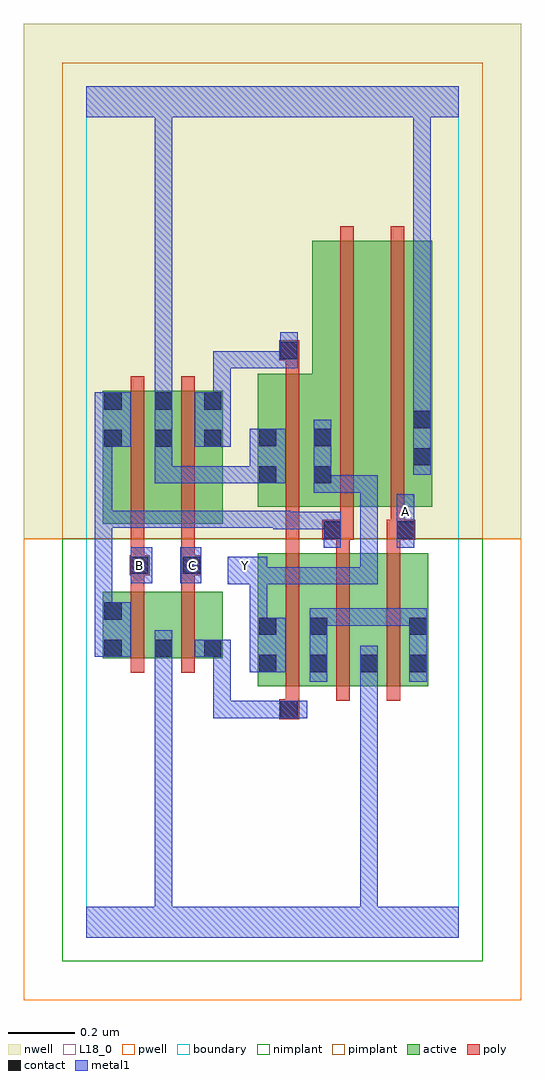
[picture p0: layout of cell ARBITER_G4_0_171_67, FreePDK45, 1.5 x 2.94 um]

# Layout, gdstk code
import gdstk
lib = gdstk.Library(unit=1e-6, precision=1e-09)
def R(c, l, rs):  # rectangles x0, y0, x1, y1
    for r in rs: c.add(gdstk.rectangle(r[:2], r[2:], *l))
def A(c, l, x, y, w, h, nx, ny, dx, dy):  # array of equal rectangles
    R(c, l, [(x+i*dx, y+j*dy, x+i*dx+w, y+j*dy+h) for i in range(nx) for j in range(ny)])
active = (1, 0)
pwell = (2, 0)
nwell = (3, 0)
nimplant = (4, 0)
pimplant = (5, 0)
poly = (9, 0)
contact = (10, 0)
metal1 = (11, 0)
L18_0 = (18, 0)
boundary = (235, 0)

arbiter_g4_0_171_67 = lib.new_cell('ARBITER_G4_0_171_67')
R(arbiter_g4_0_171_67, active, [(0.516,0.756,0.576,1.156), (0.516,0.756,0.728,1.156), (0.668,0.756,0.88,1.156), (0.668,0.756,0.728,0.966), (0.82,0.756,1.028,1.156), (0.82,0.756,0.88,0.926), (0.968,0.756,1.028,1.156), (0.05,0.84,0.11,1.04), (0.05,0.84,0.262,1.04), (0.202,0.84,0.41,1.04), (0.202,0.84,0.262,0.984), (0.35,0.84,0.41,1.04), (0.05,1.244,0.11,1.644), (0.05,1.244,0.262,1.644), (0.202,1.244,0.262,1.644), (0.202,1.244,0.41,1.644), (0.35,1.244,0.41,1.644), (0.516,1.296,0.74,1.696), (0.516,1.296,0.576,1.644), (0.68,1.296,0.86,2.096), (0.86,1.296,1.04,2.096), (0.98,1.296,1.04,2.044), (0.68,1.362,0.74,1.868)])
R(arbiter_g4_0_171_67, pwell, [(-0.188,-0.188,1.308,1.2)])
R(arbiter_g4_0_171_67, nwell, [(-0.188,1.2,1.308,2.748)])
R(arbiter_g4_0_171_67, nimplant, [(-0.072,-0.072,1.192,1.2)])
R(arbiter_g4_0_171_67, pimplant, [(-0.072,1.2,1.192,2.632)])
A(arbiter_g4_0_171_67, poly, 0.6, 0.712, 0.04, 0.488, 3, 1, 0.152, 0)
A(arbiter_g4_0_171_67, poly, 0.6, 1.16, 0.04, 0.076, 3, 1, 0.152, 0)
R(arbiter_g4_0_171_67, poly, [(0.58,0.656,0.64,0.716), (0.6,0.676,0.64,0.752), (0.134,0.796,0.174,1.084), (0.286,0.796,0.326,1.084), (0.134,1.044,0.174,1.13), (0.286,1.044,0.326,1.13), (0.13,1.09,0.19,1.15), (0.286,1.09,0.346,1.15), (0.134,1.11,0.174,1.15), (0.134,1.11,0.174,1.15), (0.134,1.11,0.174,1.24), (0.286,1.11,0.326,1.15), (0.286,1.11,0.326,1.15), (0.286,1.11,0.326,1.24), (0.6,1.196,0.64,1.236), (0.6,1.196,0.64,1.236), (0.6,1.196,0.64,1.236), (0.6,1.196,0.64,1.292), (0.71,1.196,0.804,1.256), (0.752,1.196,0.792,1.236), (0.752,1.196,0.792,1.236), (0.904,1.196,0.99,1.256), (0.134,1.2,0.174,1.688), (0.286,1.2,0.326,1.688), (0.764,1.216,0.804,1.292), (0.916,1.216,0.956,1.292), (0.916,1.216,0.956,1.256), (0.916,1.216,0.956,1.256), (0.6,1.252,0.64,1.74), (0.764,1.252,0.804,2.14), (0.916,1.252,0.956,2.14), (0.6,1.7,0.64,1.776), (0.58,1.736,0.64,1.796)])
A(arbiter_g4_0_171_67, contact, 0.52, 0.798, 0.052, 0.052, 3, 1, 0.152, 0)
R(arbiter_g4_0_171_67, contact, [(0.584,0.66,0.636,0.712), (0.972,0.798,1.024,0.85), (0.054,0.844,0.106,0.896), (0.206,0.844,0.258,0.896), (0.354,0.844,0.406,0.896), (0.52,0.91,0.572,0.962), (0.672,0.91,0.724,0.962), (0.972,0.91,1.024,0.962), (0.054,0.956,0.106,1.008), (0.134,1.094,0.186,1.146), (0.29,1.094,0.342,1.146), (0.714,1.2,0.766,1.252), (0.934,1.2,0.986,1.252), (0.52,1.366,0.572,1.418), (0.684,1.366,0.736,1.418), (0.984,1.42,1.036,1.472), (0.054,1.476,0.106,1.528), (0.206,1.476,0.258,1.528), (0.354,1.476,0.406,1.528), (0.52,1.478,0.572,1.53), (0.684,1.478,0.736,1.53), (0.984,1.532,1.036,1.584), (0.054,1.588,0.106,1.64), (0.206,1.588,0.258,1.64), (0.354,1.588,0.406,1.64), (0.584,1.74,0.636,1.792)])
R(arbiter_g4_0_171_67, metal1, [(0,0,1.12,0.092), (0.206,0.04,0.258,0.092), (0.206,0.04,0.258,0.092), (0.206,0.04,0.258,0.092), (0.206,0.04,0.258,0.092), (0.206,0.04,0.258,0.092), (0.206,0.04,0.258,0.092), (0.206,0.04,0.258,0.092), (0.206,0.04,0.258,0.092), (0.206,0.04,0.258,0.092), (0.206,0.04,0.258,0.092), (0.206,0.04,0.258,0.092), (0.206,0.04,0.258,0.092), (0.206,0.04,0.258,0.092), (0.206,0.04,0.258,0.092), (0.206,0.04,0.258,0.868), (0.824,0.04,0.876,0.092), (0.824,0.04,0.876,0.092), (0.824,0.04,0.876,0.092), (0.824,0.04,0.876,0.092), (0.824,0.04,0.876,0.822), (0.382,0.66,0.434,0.712), (0.382,0.66,0.434,0.712), (0.382,0.66,0.434,0.712), (0.382,0.66,0.608,0.712), (0.382,0.66,0.434,0.896), (0.556,0.66,0.664,0.712), (0.672,0.77,0.724,0.99), (0.824,0.77,0.876,0.822), (0.824,0.77,0.876,0.822), (0.824,0.77,0.876,0.822), (0.824,0.77,0.876,0.822), (0.824,0.77,0.876,0.822), (0.824,0.77,0.876,0.822), (0.824,0.77,0.876,0.822), (0.824,0.77,0.876,0.822), (0.824,0.77,0.876,0.878), (0.972,0.77,1.024,0.99), (0.492,0.798,0.6,0.962), (0.206,0.816,0.258,0.868), (0.206,0.816,0.258,0.868), (0.206,0.816,0.258,0.924), (0.026,0.844,0.134,1.008), (0.326,0.844,0.434,0.896), (0.382,0.844,0.434,0.896), (0.382,0.844,0.434,0.896), (0.382,0.844,0.434,0.896), (0.382,0.844,0.434,0.896), (0.492,0.91,0.544,1.114), (0.672,0.938,0.724,0.99), (0.672,0.938,0.724,0.99), (0.672,0.938,0.914,0.99), (0.862,0.938,0.914,0.99), (0.862,0.938,0.914,0.99), (0.862,0.938,0.914,0.99), (0.862,0.938,1.024,0.99), (0.026,0.956,0.078,1.284), (0.426,1.062,0.544,1.146), (0.492,1.062,0.544,1.114), (0.492,1.062,0.544,1.114), (0.492,1.062,0.724,1.114), (0.672,1.062,0.724,1.114), (0.672,1.062,0.724,1.114), (0.672,1.062,0.724,1.114), (0.672,1.062,0.876,1.114), (0.824,1.062,0.876,1.114), (0.824,1.062,0.876,1.39), (0.134,1.066,0.198,1.174), (0.282,1.066,0.346,1.174), (0.714,1.172,0.766,1.28), (0.934,1.172,0.986,1.334), (0.562,1.228,0.766,1.28), (0.562,1.228,0.614,1.284), (0.714,1.228,0.766,1.28), (0.714,1.228,0.766,1.28), (0.026,1.232,0.078,1.284), (0.026,1.232,0.078,1.284), (0.026,1.232,0.078,1.284), (0.026,1.232,0.078,1.284), (0.026,1.232,0.078,1.284), (0.026,1.232,0.244,1.284), (0.026,1.232,0.078,1.528), (0.192,1.232,0.244,1.284), (0.192,1.232,0.244,1.284), (0.192,1.232,0.244,1.284), (0.192,1.232,0.434,1.284), (0.382,1.232,0.434,1.284), (0.382,1.232,0.434,1.284), (0.382,1.232,0.434,1.284), (0.382,1.232,0.614,1.284), (0.684,1.338,0.736,1.39), (0.684,1.338,0.736,1.39), (0.684,1.338,0.736,1.558), (0.684,1.338,0.876,1.39), (0.824,1.338,0.876,1.39), (0.824,1.338,0.876,1.39), (0.824,1.338,0.876,1.39), (0.206,1.366,0.258,1.418), (0.206,1.366,0.258,1.418), (0.206,1.366,0.258,1.418), (0.206,1.366,0.258,1.418), (0.206,1.366,0.258,1.418), (0.206,1.366,0.368,1.418), (0.206,1.366,0.258,1.5), (0.316,1.366,0.368,1.418), (0.316,1.366,0.544,1.418), (0.492,1.366,0.6,1.53), (0.984,1.392,1.036,1.612), (0.206,1.448,0.258,1.5), (0.206,1.448,0.258,1.5), (0.206,1.448,0.258,1.668), (0.026,1.476,0.134,1.64), (0.326,1.476,0.434,1.64), (0.984,1.56,1.036,1.612), (0.984,1.56,1.036,1.612), (0.984,1.56,1.036,1.612), (0.984,1.56,1.036,1.612), (0.984,1.56,1.036,2.52), (0.382,1.588,0.434,1.764), (0.206,1.616,0.258,1.668), (0.206,1.616,0.258,1.668), (0.206,1.616,0.258,1.668), (0.206,1.616,0.258,1.668), (0.206,1.616,0.258,1.668), (0.206,1.616,0.258,1.668), (0.206,1.616,0.258,1.668), (0.206,1.616,0.258,1.668), (0.206,1.616,0.258,2.52), (0.382,1.712,0.434,1.764), (0.382,1.712,0.434,1.764), (0.382,1.712,0.434,1.764), (0.382,1.712,0.636,1.764), (0.584,1.712,0.636,1.82), (0,2.468,1.12,2.56), (0.206,2.468,0.258,2.52), (0.206,2.468,0.258,2.52), (0.206,2.468,0.258,2.52), (0.206,2.468,0.258,2.52), (0.206,2.468,0.258,2.52), (0.206,2.468,0.258,2.52), (0.206,2.468,0.258,2.52), (0.206,2.468,0.258,2.52), (0.984,2.468,1.036,2.52), (0.984,2.468,1.036,2.52), (0.984,2.468,1.036,2.52), (0.984,2.468,1.036,2.52)])
A(arbiter_g4_0_171_67, L18_0, 0.134, 1.094, 0.052, 0.052, 3, 1, 0.16, 0)
R(arbiter_g4_0_171_67, L18_0, [(0,0,1.12,0.092), (0.206,0.04,0.258,0.092), (0.206,0.04,0.258,0.092), (0.206,0.04,0.258,0.092), (0.206,0.04,0.258,0.092), (0.206,0.04,0.258,0.092), (0.206,0.04,0.258,0.092), (0.206,0.04,0.258,0.092), (0.206,0.04,0.258,0.092), (0.206,0.04,0.258,0.092), (0.206,0.04,0.258,0.092), (0.206,0.04,0.258,0.092), (0.206,0.04,0.258,0.092), (0.206,0.04,0.258,0.092), (0.206,0.04,0.258,0.092), (0.206,0.04,0.258,0.868), (0.824,0.04,0.876,0.092), (0.824,0.04,0.876,0.092), (0.824,0.04,0.876,0.092), (0.824,0.04,0.876,0.092), (0.824,0.04,0.876,0.822), (0.824,0.77,0.876,0.822), (0.824,0.77,0.876,0.822), (0.824,0.77,0.876,0.822), (0.824,0.77,0.876,0.822), (0.824,0.77,0.876,0.822), (0.824,0.77,0.876,0.822), (0.824,0.77,0.876,0.822), (0.824,0.77,0.876,0.822), (0.824,0.77,0.876,0.878), (0.492,0.798,0.6,0.962), (0.206,0.816,0.258,0.868), (0.206,0.816,0.258,0.868), (0.206,0.816,0.258,0.924), (0.492,0.91,0.544,1.114), (0.426,1.062,0.544,1.146), (0.492,1.062,0.544,1.114), (0.492,1.062,0.544,1.114), (0.492,1.062,0.724,1.114), (0.672,1.062,0.724,1.114), (0.672,1.062,0.724,1.114), (0.672,1.062,0.724,1.114), (0.672,1.062,0.876,1.114), (0.824,1.062,0.876,1.114), (0.824,1.062,0.876,1.39), (0.134,1.066,0.198,1.174), (0.282,1.066,0.346,1.174), (0.934,1.172,0.986,1.334), (0.934,1.254,0.986,1.306), (0.684,1.338,0.736,1.39), (0.684,1.338,0.736,1.39), (0.684,1.338,0.736,1.558), (0.684,1.338,0.876,1.39), (0.824,1.338,0.876,1.39), (0.824,1.338,0.876,1.39), (0.824,1.338,0.876,1.39), (0.206,1.366,0.258,1.418), (0.206,1.366,0.258,1.418), (0.206,1.366,0.258,1.418), (0.206,1.366,0.258,1.418), (0.206,1.366,0.258,1.418), (0.206,1.366,0.258,1.5), (0.206,1.366,0.368,1.418), (0.316,1.366,0.368,1.418), (0.316,1.366,0.544,1.418), (0.492,1.366,0.6,1.53), (0.984,1.392,1.036,1.612), (0.206,1.448,0.258,1.5), (0.206,1.448,0.258,1.5), (0.206,1.448,0.258,1.668), (0.984,1.56,1.036,1.612), (0.984,1.56,1.036,1.612), (0.984,1.56,1.036,1.612), (0.984,1.56,1.036,1.612), (0.984,1.56,1.036,2.52), (0.206,1.616,0.258,1.668), (0.206,1.616,0.258,1.668), (0.206,1.616,0.258,1.668), (0.206,1.616,0.258,1.668), (0.206,1.616,0.258,1.668), (0.206,1.616,0.258,1.668), (0.206,1.616,0.258,1.668), (0.206,1.616,0.258,1.668), (0.206,1.616,0.258,2.52), (0,2.468,1.12,2.56), (0.206,2.468,0.258,2.52), (0.206,2.468,0.258,2.52), (0.206,2.468,0.258,2.52), (0.206,2.468,0.258,2.52), (0.206,2.468,0.258,2.52), (0.206,2.468,0.258,2.52), (0.206,2.468,0.258,2.52), (0.206,2.468,0.258,2.52), (0.984,2.468,1.036,2.52), (0.984,2.468,1.036,2.52), (0.984,2.468,1.036,2.52), (0.984,2.468,1.036,2.52)])
R(arbiter_g4_0_171_67, boundary, [(0,0,1.12,2.56)])
arbiter_g4_0_171_67.add(gdstk.Label('A', (0.96,1.28), layer=11, texttype=0))
arbiter_g4_0_171_67.add(gdstk.Label('B', (0.16,1.12), layer=11, texttype=0))
arbiter_g4_0_171_67.add(gdstk.Label('C', (0.32,1.12), layer=11, texttype=0))
arbiter_g4_0_171_67.add(gdstk.Label('Y', (0.48,1.12), layer=11, texttype=0))

lib.write_gds('ARBITER_G4_0_171_67.gds')
